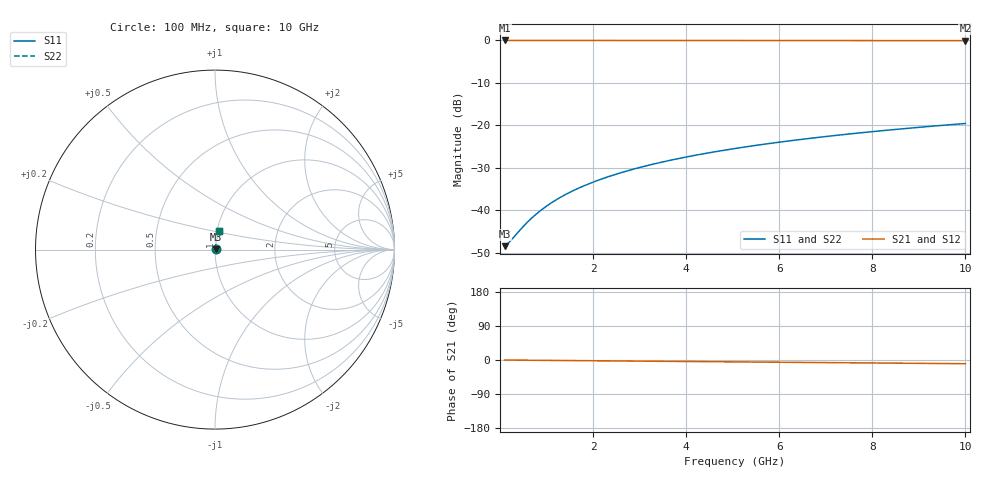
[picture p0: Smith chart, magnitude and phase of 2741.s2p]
# Hz S RI R 50.00
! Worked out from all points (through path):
!   100 points, 100 MHz to 10 GHz, reference 50 ohm
!   highest |S21| = -0.03 dB at 100 MHz (marker M1); lowest = -0.1 dB at 10 GHz (marker M2)
!   group delay of S21, straight-line fit = 2.72 ps
!   lowest |S11| = -48.4 dB at 100 MHz (marker M3), VSWR 1.01, Z = 50.4 + j0.106 ohm
!   |S11| at or under -10 dB: start of sweep to end of sweep
!   |S22| runs from -48.4 to -19.6 dB; largest |S21 - S12| = 0
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1e8  0.00364 0.00105  0.9964 -0.0017  0.9964 -0.0017  0.00364 0.00105
2e8  0.00367 0.0021  0.9963 -0.00341  0.9963 -0.00341  0.00367 0.0021
5e8  0.00375 0.00524  0.9962 -0.00851  0.9962 -0.00851  0.00375 0.00524
6e8  0.00378 0.00629  0.9962 -0.0102  0.9962 -0.0102  0.00378 0.00629
7e8  0.00381 0.00734  0.9962 -0.0119  0.9962 -0.0119  0.00381 0.00734
9e8  0.00388 0.00944  0.9961 -0.0153  0.9961 -0.0153  0.00388 0.00944
1.1e9  0.00397 0.0115  0.996 -0.0187  0.996 -0.0187  0.00397 0.0115
1.3e9  0.00407 0.0136  0.9959 -0.0221  0.9959 -0.0221  0.00407 0.0136
1.5e9  0.00418 0.0157  0.9958 -0.0255  0.9958 -0.0255  0.00418 0.0157
1.8e9  0.00438 0.0189  0.9955 -0.0306  0.9955 -0.0306  0.00438 0.0189
2.1e9  0.0046 0.022  0.9953 -0.0357  0.9953 -0.0357  0.0046 0.022
2.5e9  0.00495 0.0262  0.9949 -0.0425  0.9949 -0.0425  0.00495 0.0262
2.9e9  0.00535 0.0304  0.9945 -0.0493  0.9945 -0.0493  0.00535 0.0304
3.4e9  0.00593 0.0356  0.9938 -0.0578  0.9938 -0.0578  0.00593 0.0356
3.8e9  0.00646 0.0397  0.9932 -0.0646  0.9932 -0.0646  0.00646 0.0397
4.2e9  0.00705 0.0439  0.9925 -0.0714  0.9925 -0.0714  0.00705 0.0439
5.1e9  0.00857 0.0532  0.9908 -0.0866  0.9908 -0.0866  0.00857 0.0532
5.9e9  0.0102 0.0614  0.989 -0.1001  0.989 -0.1001  0.0102 0.0614
6.7e9  0.012 0.0696  0.987 -0.1136  0.987 -0.1136  0.012 0.0696
7.5e9  0.014 0.0778  0.9847 -0.127  0.9847 -0.127  0.014 0.0778
8.4e9  0.0166 0.0868  0.9818 -0.142  0.9818 -0.142  0.0166 0.0868
1e10  0.0218 0.1028  0.9759 -0.1685  0.9759 -0.1685  0.0218 0.1028
